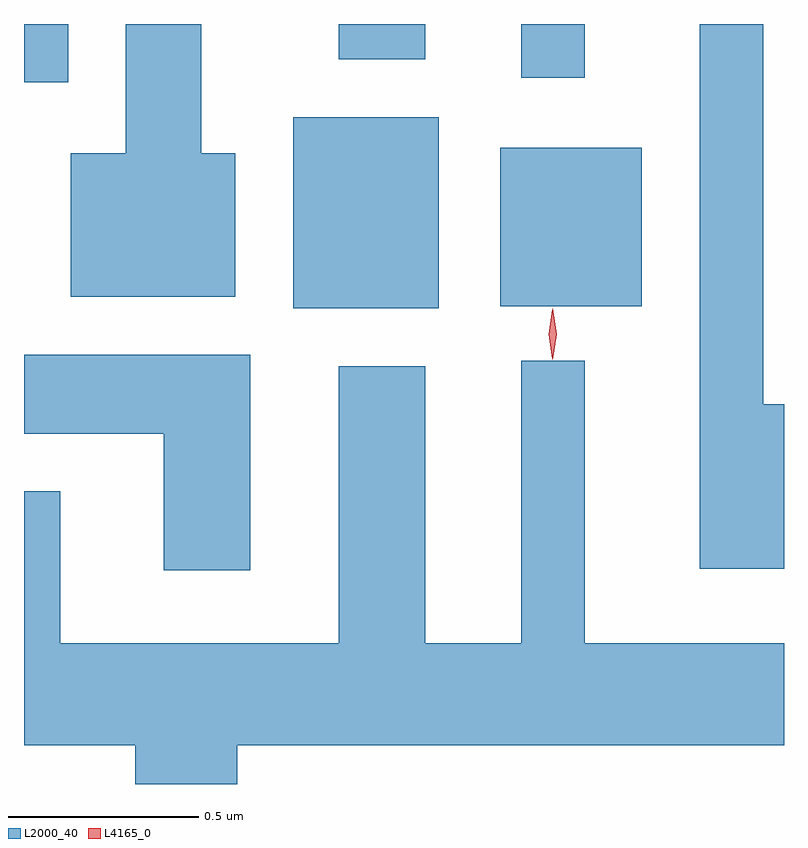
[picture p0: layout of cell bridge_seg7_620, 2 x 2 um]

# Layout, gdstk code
import gdstk
lib = gdstk.Library(unit=1e-6, precision=1e-09)
def R(c, l, rs):  # rectangles x0, y0, x1, y1
    for r in rs: c.add(gdstk.rectangle(r[:2], r[2:], *l))
def P(c, l, *ps):  # polygons
    for p in ps: c.add(gdstk.Polygon(p, *l))
L2000_40 = (2000, 40)
L4165_0 = (4165, 0)

bridge_seg7_620 = lib.new_cell('bridge_seg7_620')
R(bridge_seg7_620, L2000_40, [(655.051,1750.986,655.434,1751.489), (655.596,1750.991,655.969,1751.409), (654.343,1751.581,654.459,1751.734), (655.651,1751.593,655.819,1751.734), (655.171,1751.641,655.399,1751.734)])
P(bridge_seg7_620, L2000_40, [(654.899,1751.394),(654.809,1751.394),(654.809,1751.734),(654.611,1751.734),(654.611,1751.394),(654.466,1751.394),(654.466,1751.016),(654.899,1751.016)],
  [(656.343,1750.734),(656.289,1750.734),(656.289,1751.734),(656.121,1751.734),(656.121,1750.301),(656.343,1750.301)],
  [(654.939,1750.864),(654.343,1750.864),(654.343,1750.656),(654.711,1750.656),(654.711,1750.296),(654.939,1750.296)],
  [(654.904,1749.836),(656.343,1749.836),(656.343,1750.104),(655.819,1750.104),(655.819,1750.848),(655.651,1750.848),(655.651,1750.104),(655.399,1750.104),(655.399,1750.834),(655.171,1750.834),(655.171,1750.104),(654.439,1750.104),(654.439,1750.504),(654.343,1750.504),(654.343,1749.836),(654.636,1749.836),(654.636,1749.734),(654.904,1749.734)])
P(bridge_seg7_620, L4165_0, [(655.733,1750.853),(655.724,1750.917),(655.733,1750.982),(655.734,1750.982),(655.734,1750.982),(655.744,1750.917),(655.734,1750.853),(655.734,1750.853)],
  [(655.734,1750.85),(655.725,1750.918),(655.734,1750.986),(655.735,1750.986),(655.735,1750.986),(655.745,1750.918),(655.735,1750.85),(655.735,1750.85)])

lib.write_gds('bridge_seg7_620.gds')
